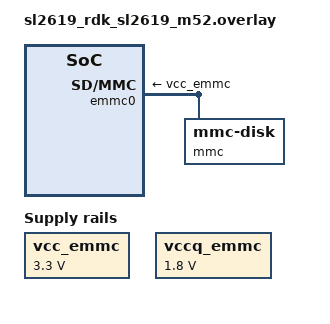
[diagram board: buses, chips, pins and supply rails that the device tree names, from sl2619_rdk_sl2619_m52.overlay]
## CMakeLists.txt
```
cmake_minimum_required(VERSION 3.20.0)

find_package(Zephyr REQUIRED HINTS $ENV{ZEPHYR_BASE})
project(syna_sdhc_app)

target_sources(app PRIVATE src/main.c)
```

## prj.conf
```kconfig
CONFIG_MMC_STACK=y
CONFIG_SDHC=y
CONFIG_SD_UHS_PROTOCOL=y
```

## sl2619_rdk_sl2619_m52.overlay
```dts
/*
 * Copyright (c) 2026 Synaptics, Inc.
 *
 * SPDX-License-Identifier: Apache-2.0
 */

/ {
	vcc_emmc: regulator-vcc-emmc {
		compatible = "regulator-fixed";

		regulator-name = "EMMC Vcc";
		regulator-min-microvolt = <3300000>;
		regulator-max-microvolt = <3300000>;
		regulator-always-on;
	};

	vccq_emmc: regulator-vccq-emmc {
		compatible = "regulator-fixed";

		regulator-name = "EMMC VccQ";
		regulator-min-microvolt = <1800000>;
		regulator-max-microvolt = <1800000>;
		regulator-always-on;
	};

	soc {
		emmc0: sdhc@d7a00000 {
			compatible = "snps,mshc", "syna,sl261x-emmc";
			reg = <0xd7a00000 0x1000>;
			interrupts = <170 0>;
			clock-frequency = <200000000>;
			pinctrl-0 = <>;
			pinctrl-names = "default";
			vmmc-supply = <&vcc_emmc>;
			vmmcq-supply = <&vccq_emmc>;
			max-bus-freq = <50000000>;
			no-dma;

			mmc {
				compatible = "zephyr,mmc-disk";
				disk-name = "EMMC";
				status = "okay";
			};
		};
	};
};
```

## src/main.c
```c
/*
 * Copyright (c) 2026 Synaptics, Inc.
 *
 * SPDX-License-Identifier: Apache-2.0
 */

#include <zephyr/sd/sdio.h>
#include <zephyr/sd/mmc.h>
#include <zephyr/drivers/disk.h>
#include <stdio.h>

#if defined(CONFIG_SDHC) && !defined(CONFIG_MMC_STACK) && defined(CONFIG_FILE_SYSTEM)
#include <zephyr/fs/fs.h>
#include <ff.h>

#define DISK_NAME "SD"
#define FATFS_MNTP "/"DISK_NAME":"

static FATFS fat_fs = { 0 };
static struct fs_mount_t fatfs_mnt = {
	.type = FS_FATFS,
	.mnt_point = FATFS_MNTP,
	.fs_data = &fat_fs,
};

static struct fs_file_t filep;
static struct fs_dirent entry;
#endif /* CONFIG_SDHC */

#if defined (CONFIG_MMC_STACK)
#include <zephyr/fs/fs.h>
/*#include <zephyr/fs/ext2.h>

static struct fs_mount_t ext2_mnt = {
	.type = FS_EXT2,
	.mnt_point = "/emmc",
	.storage_dev = "EMMC",
	.flags = 0,
};
static struct fs_file_t filep;
static struct fs_dirent entry;*/
#endif

#if defined(CONFIG_SDIO_STACK)
static const struct device *sdhc_dev = DEVICE_DT_GET(DT_ALIAS(sdhc1));
#endif
static struct sd_card card;
static uint8_t buffer[1024 * 4];

int main(void)
{
#if defined(CONFIG_SDIO_STACK)
	struct sdio_func sdio_func1, sdio_func2;
	uint8_t reg = 0xFF;
#endif
	int i;
	int ret;

	printf("Hello World! %s\n", CONFIG_BOARD_TARGET);

#if defined(CONFIG_MMC_STACK) && defined(CONFIG_SDHC)
	const struct device *emmc0 = DEVICE_DT_GET(DT_NODELABEL(emmc0));
	uint32_t sector_count;
	uint32_t sector_size;
	uint32_t *lbuffer = (uint32_t *)buffer;

	if (device_is_ready(emmc0)) {
		ret = sd_is_card_present(emmc0);
		if (ret != 1) {
			printf("SD card not present in slot\n");
			return 0;
		}

		card.bus_width = 8;
		ret = sd_init(emmc0, &card);
		if (ret != 0) {
			printf("Card initialization failed\n");
			return 0;
		}

		if (card.type != CARD_MMC) {
			printf("Card type is not MMC: %d\n", card.type);
		}
		printf("card.flags 0x%x, width %d\n", card.flags, card.bus_width);

		ret = mmc_ioctl(&card, DISK_IOCTL_GET_SECTOR_COUNT, &sector_count);
		printf("SD card reports sector count of %d (ret %d)\n", sector_count, ret);

		ret = mmc_ioctl(&card, DISK_IOCTL_GET_SECTOR_SIZE, &sector_size);
		printf("SD card reports sector size of %d (ret %d)\n", sector_size, ret);

		ret = mmc_read_blocks(&card, buffer, 49152, 1);
		printf("read 1 block from block offset 49152 (%d): 0x%x 0x%x 0x%x 0x%x\n", ret, lbuffer[0], lbuffer[1],
			lbuffer[2], lbuffer[3]);

		for (i = 0; i < 1024; i++)
			buffer[i] = i;

		for (i = 0; i < 1024; i++)
			buffer[i] = 0;

		ret = mmc_write_blocks(&card, buffer, 49152, 2);
		printf("write 2 blocks at block offset 49152: %d\n", ret);

		ret = mmc_read_blocks(&card, buffer, 49152, 1);
		printf("read 1 block from block offset 49152 (%d): 0x%x 0x%x 0x%x 0x%x\n", ret, lbuffer[0], lbuffer[1],
			lbuffer[2], lbuffer[3]);

		for (i = 0; i < 1024; i++)
			buffer[i] = i;

		ret = mmc_write_blocks(&card, buffer, 49152, 2);
		printf("write 2 blocks at block offset 49152: %d\n", ret);

		ret = mmc_read_blocks(&card, buffer, 49152, 2);
		printf("read 2 blocks from block offset 49152 (%d): 0x%x 0x%x 0x%x 0x%x\n", ret, lbuffer[0], lbuffer[1],
			lbuffer[2], lbuffer[3]);

		/*
		ext2_mnt.flags |= FS_MOUNT_FLAG_NO_FORMAT;
		ret = fs_mount(&ext2_mnt);
		printf("fs_mount %d\n", ret);
		ext2_mnt.flags |= FS_MOUNT_FLAG_READ_ONLY;
		ret = fs_mount(&ext2_mnt);
		printf("fs_mount %d\n", ret);
		*/

	/*
	ret = fs_mkfs(FS_EXT2, ext2_mnt.storage_dev, NULL, ext2_mnt.storage_dev);

	fs_mkfs_mp->flags = FS_MOUNT_FLAG_NO_FORMAT;
	ret = fs_mount(fs_mkfs_mp);
	ret = fs_unmount(fs_mkfs_mp);
	*/

	}

#elif defined(CONFIG_SDHC) && defined(CONFIG_FILE_SYSTEM) && DT_NODE_HAS_STATUS_OKAY(DT_NODELABEL(sdhc0))
	const struct device *sdhc0 = DEVICE_DT_GET(DT_NODELABEL(sdhc0));
	if (device_is_ready(sdhc0)) {
		printf("start sdhc0\n");

		fs_file_t_init(&filep);
		fatfs_mnt.flags = 0; //FS_MOUNT_FLAG_READ_ONLY;
		printf("start sdhc0 - 1\n");
		ret = fs_mount(&fatfs_mnt);
		printf("start sdhc0 - 2: %d\n", ret);
		if (ret == 0) {
			ret = fs_open(&filep, "/SD:/spi.txt", FS_O_READ);
		}
		printf("start sdhc0 - 3: %d\n", ret);
		if (ret == 0) {
			ret = fs_close(&filep);
		}
		printf("start sdhc0 - 4: %d\n", ret);
		if (ret == 0) {
			ret = fs_stat("/SD:/spi.txt", &entry);
		}
		if (ret == 0 && entry.size == 147) {
			printf("SD/MMC successful\n");
		} else {
			printf("SD/MMC failed\n");
		}
		/* fs_file_t_init(&filep);
		ret = fs_open(&filep, "/SD:/new.txt", FS_O_RDWR | FS_O_CREATE);
		ret = fs_write(&filep, tx_buf, 11);
		ret = fs_close(&filep);
		ret = fs_sync(&filep); */
	}
#elif defined(CONFIG_SDIO_STACK)

	ret = sd_is_card_present(sdhc_dev);
	if (ret != 1) {
		printf("SD card not present in slot\n");
		return 0;
	}

	ret = sd_init(sdhc_dev, &card);
	if (ret != 0) {
		printf("Card initialization failed\n");
		return 0;
	}

	/* Read from card common I/O area. */
	ret = sdio_read_byte(&card.func0, SDIO_CCCR_CCCR, &reg);
	if (ret != 0) {
		printf("SD card read failed\n");
	}

	/* Check to make sure CCCR read actually returned valid data */
	if (reg == 0xFF) {
		printf("CCCR read returned invalid data\n");
	}

	ret = sdio_init_func(&card, &sdio_func1, 1);
	if (ret) {
		printf("sdio_init_func 1, error: %d\n", ret);
		return ret;
	}
	ret = sdio_init_func(&card, &sdio_func2, 2);
	if (ret) {
		printf("sdio_init_func 2, error: %d\n", ret);
		return ret;
	}

	ret = sdio_set_block_size(&card.func0, card.func0.cis.max_blk_size);
	if (ret) {
		printf("Can't set block size for function 0, error: %d\n", ret);
		return ret;
	}

	ret = sdio_set_block_size(&sdio_func1, 64);
	if (ret) {
		printf("Can't set block size for function 1, error: %d\n", ret);
		return ret;
	}

	ret = sdio_set_block_size(&sdio_func2, 512);
	if (ret) {
		printf("Can't set block size for function 2, error: %d\n", ret);
		return ret;
	}

	ret = sdio_enable_func(&sdio_func1);
	if (ret != 0) {
		printf("sdio_enable_func 1 failed, error: %d\n", ret);
	}

	switch (card.card_voltage) {
	case SD_VOL_1_2_V:
		printf("Card voltage: 1.2V\n");
		break;
	case SD_VOL_1_8_V:
		printf("Card voltage: 1.8V\n");
		break;
	case SD_VOL_3_0_V:
		printf("Card voltage: 3.0V\n");
		break;
	case SD_VOL_3_3_V:
		printf("Card voltage: 3.3V\n");
		break;
	default:
		printf("Card voltage is not known value\n");
	}
	if (card.status != CARD_INITIALIZED) {
		printf("Card status is not OK\n");
	}
	switch (card.card_speed) {
	case SD_TIMING_SDR12:
		printf("Card timing: SDR12\n");
		break;
	case SD_TIMING_SDR25:
		printf("Card timing: SDR25\n");
		break;
	case SD_TIMING_SDR50:
		printf("Card timing: SDR50\n");
		break;
	case SD_TIMING_SDR104:
		printf("Card timing: SDR104\n");
		break;
	case SD_TIMING_DDR50:
		printf("Card timing: DDR50\n");
		break;
	default:
		printf("Card timing is not known value\n");
	}
	switch (card.type) {
	case CARD_SDIO:
		printf("Card type: SDIO\n");
		break;
	case CARD_SDMMC:
		printf("Card type: SDMMC\n");
		break;
	case CARD_COMBO:
		printf("Card type: combo card\n");
		break;
	default:
		printf("Card type is not known value\n");
	}
	if (card.sd_version >= SD_SPEC_VER3_0) {
		printf("Card spec: 3.0\n");
	} else if (card.sd_version >= SD_SPEC_VER2_0) {
		printf("Card spec: 2.0\n");
	} else if (card.sd_version >= SD_SPEC_VER1_1) {
		printf("Card spec: 1.1\n");
	} else if (card.sd_version >= SD_SPEC_VER1_0) {
		printf("Card spec: 1.0\n");
	} else {
		printf("Card spec is unknown value\n");
	}

	ret = sdio_write_byte(&sdio_func1, 0x1000a, 0x0); // (0x170000 >> 8) & 0xff
	if (ret != 0) {
		printf("CMD52 write failed\n");
	}

	ret = sdio_write_byte(&sdio_func1, 0x1000b, 0x0); // (0x170000 >> 16) & 0xff
	if (ret != 0) {
		printf("CMD52 write failed\n");
	}

	ret = sdio_write_byte(&sdio_func1, 0x1000c, 0x18); // (0x170000 >> 24) & 0xff
	if (ret != 0) {
		printf("CMD52 write failed\n");
	}

	ret = sdio_read_addr(&sdio_func1, 0x0, buffer, 4);
	printf("Chip ID: 0x%02x 0x%02x 0x%02x 0x%02x\n",
		buffer[0], buffer[1], buffer[2], buffer[3]);

	ret = sdio_write_byte(&card.func0, 0x10, 64);
	ret = sdio_write_byte(&card.func0, 0x110, 64);
	if (ret != 0) {
		printf("CMD52 write failed\n");
	}
	reg = 0;
	ret = sdio_read_byte(&card.func0, 0x110, &reg);
	printf("read_byte 0x110: 0x%x\n", reg);

	/* ret = sdio_write_byte(&card.func0, 0x210, 0);
	ret = sdio_write_byte(&card.func0, 0x211, 1);
	ret = sdio_write_byte(&card.func0, 0x1000e, 0x29);
	ret = sdio_write_byte(&card.func0, 0x1000e, 0x0);
	ret = sdio_write_byte(&card.func0, 0x4034, 0x2);
	ret = sdio_write_byte(&card.func0, 0x10008, 0x40);
	ret = sdio_write_byte(&card.func0, 0x10009, 0x10);
	ret = sdio_write_byte(&card.func0, 0x1001d, 0xc0); */

	ret = sdio_write_byte(&sdio_func1, 0x1000a, 0x0); // (0x170000 >> 8) & 0xff
	if (ret != 0) {
		printf("CMD52 write failed\n");
	}

	ret = sdio_write_byte(&sdio_func1, 0x1000b, 0x1b); // (0x170000 >> 16) & 0xff
	if (ret != 0) {
		printf("CMD52 write failed\n");
	}

	ret = sdio_write_byte(&sdio_func1, 0x1000c, 0x0); // (0x170000 >> 24) & 0xff
	if (ret != 0) {
		printf("CMD52 write failed\n");
	}

	for (i = 0; i < 64; i++) {
		buffer[i] = i;
	}

	for (i = 0; i < 10; i++) {
		ret = sdio_write_addr(&sdio_func1, 0x0, buffer, 64);
		if (ret != 0) {
			printf("CMD53 write failed\n");
		}
	}

	for (i = 0; i < 64; i++) {
		buffer[i] = 0;
	}

	ret = sdio_read_addr(&sdio_func1, 0x0, buffer, 64);
	if (ret != 0) {
		printf("CMD53 read failed\n");
	}
	printf("buffer content 0x%x 0x%x 0x%x 0x%x\n", buffer[0], buffer[1], buffer[2], buffer[3]);

	for (i = 0; i < 16; i++) {
		if (buffer[i] != i) {
			printf("CMD53: read/write mismatch\n");
			break;
		}
	}

	/* ret = sdio_enable_func(&sdio_func2);
	if (ret != 0) {
		printf("SD enable_func 2 failed\n");
	}*/

	ret = sdio_write_addr(&sdio_func1, 0x0, buffer, 128);
	if (ret != 0) {
		printf("CMD53 write failed\n");
	}

	ret = sdio_read_addr(&sdio_func1, 0x0, buffer, 128);
	if (ret != 0) {
		printf("CMD53 read failed\n");
	}
	printf("buffer content 0x%x 0x%x 0x%x 0x%x\n", buffer[0], buffer[1], buffer[2], buffer[3]);

	ret = sdio_write_byte(&sdio_func1, 0x1000b, 0x10);
	if (ret != 0) {
		printf("CMD52 write failed\n");
	}

	ret = sdio_write_byte(&sdio_func1, 0x1000c, 0x18);
	if (ret != 0) {
		printf("CMD52 write failed\n");
	}

	ret = sdio_write_byte(&sdio_func1, 0x10008, 0x60);
	ret = sdio_write_byte(&sdio_func1, 0x10009, 0x10);
	ret = sdio_write_byte(&sdio_func1, 0x1001d, 0xd0);
	ret = sdio_write_byte(&sdio_func1, 0x1000e, 0x0);
	if (ret != 0) {
		printf("CMD52 write failed\n");
	}

	ret = sdio_write_byte(&sdio_func1, 0x1000e, 0x10);
	if (ret != 0) {
		printf("CMD52 write failed\n");
	}

	i = 0;
	reg = 0;
	while (((reg & 0x80) == 0) && (i < 10)) {
		ret = sdio_read_byte(&sdio_func1, 0x1000e, &reg);
		if (ret != 0) {
			printf("CMD52 read failed\n");
		}
		i++;
		k_sleep(K_MSEC(100));
	}

	ret = sdio_write_byte(&sdio_func1, 0x1000e, 0xd2);
	if (ret != 0) {
		printf("CMD52 write failed\n");
	}

	ret = sdio_read_byte(&sdio_func1, 0x1000e, &reg);
	if (ret != 0) {
		printf("CMD52 read failed\n");
	}
	printf("0x1000e: 0x%x\n", reg);

#endif /* CONFIG_SDHC */
	return 0;
}
```
